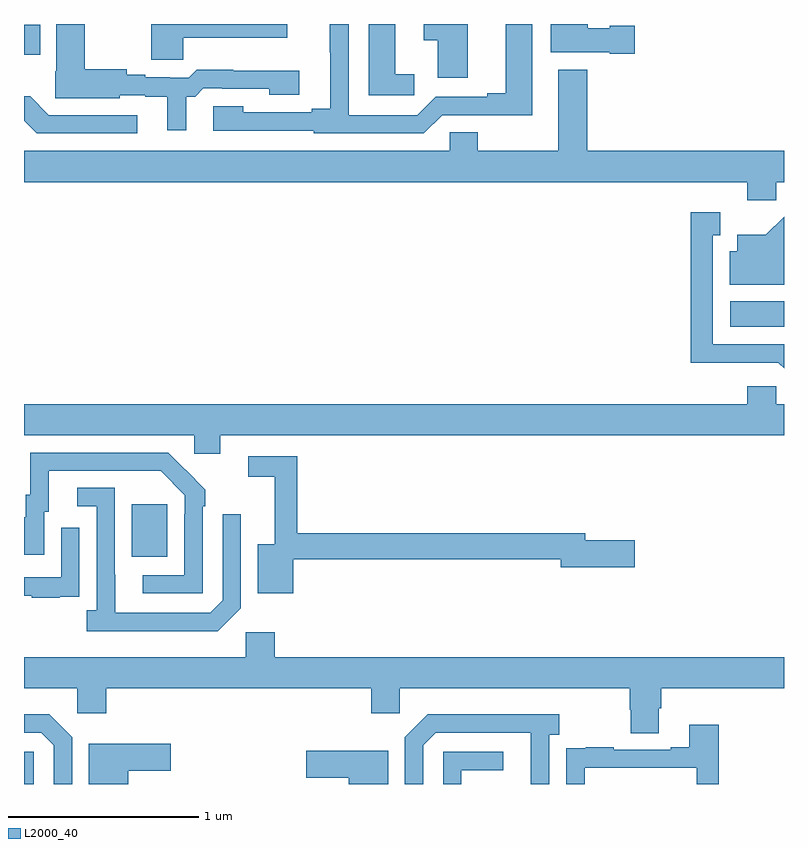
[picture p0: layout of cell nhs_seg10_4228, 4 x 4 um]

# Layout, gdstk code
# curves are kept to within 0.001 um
import gdstk
lib = gdstk.Library(unit=1e-6, precision=1e-09)
def R(c, l, rs):  # rectangles x0, y0, x1, y1
    for r in rs: c.add(gdstk.rectangle(r[:2], r[2:], *l))
def P(c, l, *ps):  # polygons
    for p in ps: c.add(gdstk.Polygon(p, *l))
L2000_40 = (2000, 40)

nhs_seg10_4228 = lib.new_cell('nhs_seg10_4228')
R(nhs_seg10_4228, L2000_40, [(347,1278.5,347.052,1278.669), (347.567,1279.697,347.755,1279.972), (350.718,1280.906,351,1281.04), (347,1282.337,347.086,1282.495)])
P(nhs_seg10_4228, L2000_40, [(347.837,1282.427),(348.385,1282.427),(348.385,1282.5),(347.671,1282.5),(347.671,1282.311),(347.837,1282.311)],
  [(347.854,1282.118),(347.9,1282.118),(347.943,1282.161),(348.043,1282.161),(348.043,1282.158),(348.292,1282.158),(348.292,1282.127),(348.448,1282.127),(348.448,1282.255),(348.101,1282.255),(348.101,1282.258),(347.908,1282.258),(347.868,1282.218),(347.768,1282.218),(347.768,1282.221),(347.638,1282.221),(347.638,1282.234),(347.542,1282.234),(347.542,1282.263),(347.319,1282.263),(347.319,1282.5),(347.171,1282.5),(347.171,1282.251),(347.164,1282.251),(347.164,1282.109),(347.505,1282.109),(347.505,1282.125),(347.638,1282.125),(347.638,1282.118),(347.753,1282.118),(347.753,1281.942),(347.854,1281.942)],
  [(349.336,1282.5),(349.103,1282.5),(349.103,1282.414),(349.178,1282.414),(349.178,1282.218),(349.336,1282.218)],
  [(349.2,1282.02),(349.675,1282.019),(349.675,1282.5),(349.535,1282.5),(349.535,1282.136),(349.439,1282.136),(349.439,1282.116),(349.167,1282.116),(349.071,1282.02),(348.708,1282.02),(348.708,1282.5),(348.61,1282.5),(348.611,1282.055),(348.515,1282.055),(348.515,1282.035),(348.153,1282.035),(348.153,1282.066),(347.997,1282.066),(347.997,1281.939),(348.525,1281.939),(348.525,1281.924),(349.104,1281.924)],
  [(350.215,1282.49),(350.082,1282.49),(350.082,1282.477),(349.966,1282.477),(349.966,1282.5),(349.772,1282.5),(349.772,1282.352),(350.082,1282.352),(350.082,1282.343),(350.215,1282.343)],
  [(349.054,1282.235),(348.955,1282.235),(348.955,1282.5),(348.815,1282.5),(348.815,1282.126),(349.054,1282.126)],
  [(350.958,1281.668),(351,1281.668),(351,1281.832),(349.964,1281.832),(349.964,1282.258),(349.811,1282.258),(349.811,1281.832),(349.389,1281.832),(349.389,1281.93),(349.242,1281.93),(349.242,1281.832),(347,1281.832),(347,1281.668),(350.807,1281.668),(350.807,1281.573),(350.958,1281.573)],
  [(347.596,1282.02),(347.13,1282.02),(347.032,1282.119),(347,1282.119),(347,1281.992),(347.067,1281.924),(347.596,1281.924)],
  [(351,1280.814),(350.626,1280.814),(350.626,1281.387),(350.665,1281.387),(350.665,1281.508),(350.508,1281.508),(350.508,1280.717),(350.748,1280.717),(350.748,1280.718),(350.97,1280.718),(351,1280.688)],
  [(351,1281.485),(350.905,1281.391),(350.753,1281.391),(350.753,1281.304),(350.714,1281.304),(350.714,1281.128),(351,1281.128)],
  [(348.034,1280.336),(351,1280.336),(351,1280.5),(350.958,1280.5),(350.958,1280.593),(350.807,1280.593),(350.807,1280.5),(347,1280.5),(347,1280.336),(347.895,1280.336),(347.895,1280.238),(348.034,1280.238)],
  [(347.94,1279.961),(347.955,1279.961),(347.955,1280.049),(347.758,1280.244),(347.034,1280.244),(347.034,1280.022),(347.009,1280.022),(347.009,1279.903),(347,1279.903),(347,1279.707),(347.107,1279.707),(347.107,1279.932),(347.131,1279.932),(347.131,1280.148),(347.719,1280.148),(347.847,1280.019),(347.847,1279.919),(347.844,1279.919),(347.844,1279.599),(347.625,1279.599),(347.625,1279.503),(347.94,1279.503)],
  [(348.417,1279.684),(349.826,1279.684),(349.826,1279.642),(350.215,1279.642),(350.215,1279.784),(349.954,1279.784),(349.954,1279.82),(348.437,1279.82),(348.437,1280.226),(348.18,1280.226),(348.18,1280.118),(348.32,1280.118),(348.32,1279.762),(348.23,1279.762),(348.23,1279.505),(348.417,1279.505)],
  [(348.141,1279.425),(348.141,1279.921),(348.045,1279.921),(348.045,1279.467),(347.979,1279.401),(347.479,1279.401),(347.478,1280.058),(347.28,1280.058),(347.28,1279.962),(347.382,1279.962),(347.382,1279.414),(347.331,1279.414),(347.331,1279.304),(348.02,1279.304)],
  [(347.189,1279.485),(347.291,1279.485),(347.291,1279.594),(347.292,1279.594),(347.292,1279.849),(347.196,1279.849),(347.196,1279.587),(347,1279.587),(347,1279.491),(347.041,1279.491),(347.041,1279.479),(347.189,1279.479)],
  [(350.341,1278.898),(350.354,1278.898),(350.354,1279.004),(351,1279.004),(351,1279.168),(348.32,1279.168),(348.32,1279.3),(348.168,1279.3),(348.168,1279.168),(347,1279.168),(347,1279.004),(347.28,1279.004),(347.28,1278.873),(347.432,1278.873),(347.432,1279.004),(348.827,1279.004),(348.827,1278.873),(348.978,1278.873),(348.978,1279.004),(350.189,1279.004),(350.189,1278.891),(350.194,1278.891),(350.194,1278.766),(350.341,1278.766)],
  [(347.253,1278.747),(347.132,1278.868),(347,1278.868),(347,1278.771),(347.091,1278.771),(347.157,1278.705),(347.157,1278.5),(347.253,1278.5)],
  [(349.101,1278.705),(349.167,1278.771),(349.667,1278.771),(349.668,1278.5),(349.764,1278.5),(349.764,1278.758),(349.816,1278.758),(349.816,1278.868),(349.126,1278.868),(349.005,1278.747),(349.005,1278.5),(349.101,1278.5)],
  [(349.95,1278.585),(350.541,1278.585),(350.541,1278.5),(350.657,1278.5),(350.657,1278.811),(350.501,1278.811),(350.501,1278.694),(350.405,1278.694),(350.405,1278.681),(350.105,1278.681),(350.105,1278.694),(349.957,1278.694),(349.957,1278.687),(349.855,1278.687),(349.855,1278.578),(349.854,1278.578),(349.854,1278.5),(349.95,1278.5)],
  [(347.549,1278.569),(347.773,1278.569),(347.773,1278.711),(347.342,1278.711),(347.342,1278.5),(347.549,1278.5)],
  [(348.916,1278.675),(348.486,1278.675),(348.486,1278.533),(348.709,1278.533),(348.709,1278.5),(348.916,1278.5)],
  [(349.302,1278.573),(349.522,1278.573),(349.522,1278.669),(349.206,1278.669),(349.206,1278.5),(349.302,1278.5)])

lib.write_gds('nhs_seg10_4228.gds')
